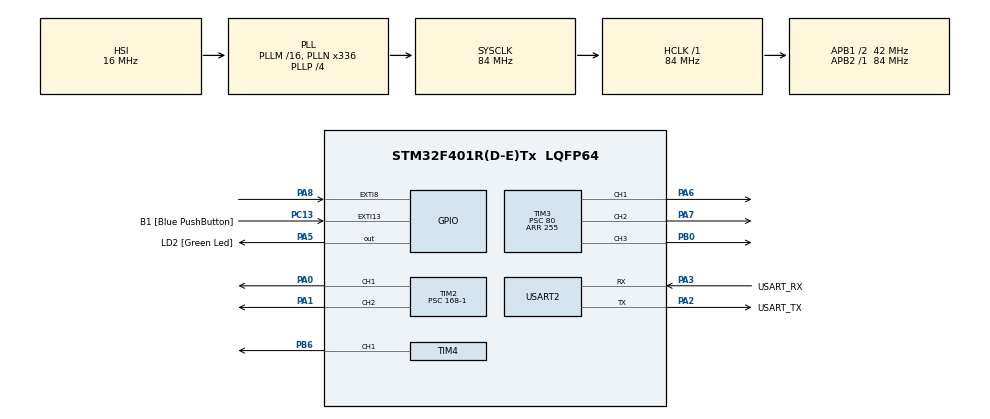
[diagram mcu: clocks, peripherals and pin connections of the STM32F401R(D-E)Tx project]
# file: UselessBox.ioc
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Mcu.Family=STM32F4
Mcu.Name=STM32F401R(D-E)Tx
Mcu.Package=LQFP64
NVIC.EXTI9_5_IRQn=true\:0\:0\:false\:false\:true\:true\:true\:true
NVIC.PriorityGroup=NVIC_PRIORITYGROUP_4
PA0-WKUP.Signal=S_TIM2_CH1_ETR
PA1.Signal=S_TIM2_CH2
PA13.GPIO_Label=TMS
PA13.Mode=Trace_Asynchronous_SW
PA13.Signal=SYS_JTMS-SWDIO
PA14.GPIO_Label=TCK
PA14.Mode=Trace_Asynchronous_SW
PA14.Signal=SYS_JTCK-SWCLK
PA2.GPIO_Label=USART_TX
PA2.GPIO_Mode=GPIO_MODE_AF_PP
PA2.GPIO_PuPd=GPIO_NOPULL
PA2.GPIO_Speed=GPIO_SPEED_FREQ_LOW
PA2.Mode=Asynchronous
PA2.Signal=USART2_TX
PA3.GPIO_Label=USART_RX
PA3.GPIO_Mode=GPIO_MODE_AF_PP
PA3.GPIO_PuPd=GPIO_NOPULL
PA3.GPIO_Speed=GPIO_SPEED_FREQ_LOW
PA3.Mode=Asynchronous
PA3.Signal=USART2_RX
PA5.GPIO_Label=LD2 [Green Led]
PA5.GPIO_Mode=GPIO_MODE_OUTPUT_PP
PA5.GPIO_PuPd=GPIO_NOPULL
PA5.GPIO_Speed=GPIO_SPEED_FREQ_LOW
PA5.Signal=GPIO_Output
PA6.Signal=S_TIM3_CH1
PA7.Signal=S_TIM3_CH2
PA8.GPIO_ModeDefaultEXTI=GPIO_MODE_IT_FALLING
PA8.GPIO_PuPd=GPIO_PULLUP
PA8.Signal=GPXTI8
PB0.Signal=S_TIM3_CH3
PB3.GPIO_Label=SWO
PB3.Mode=Trace_Asynchronous_SW
PB3.Signal=SYS_JTDO-SWO
PB6.Signal=S_TIM4_CH1
PC13-ANTI_TAMP.GPIO_Label=B1 [Blue PushButton]
PC13-ANTI_TAMP.GPIO_ModeDefaultEXTI=GPIO_MODE_IT_FALLING
PC13-ANTI_TAMP.GPIO_PuPd=GPIO_NOPULL
PC13-ANTI_TAMP.Signal=GPXTI13
PC14-OSC32_IN.Signal=RCC_OSC32_IN
PC15-OSC32_OUT.Signal=RCC_OSC32_OUT
PH0\ -\ OSC_IN.Mode=HSE-External-Oscillator
PH0\ -\ OSC_IN.Signal=RCC_OSC_IN
PH1\ -\ OSC_OUT.Mode=HSE-External-Oscillator
PH1\ -\ OSC_OUT.Signal=RCC_OSC_OUT
ProjectManager.HeapSize=0x200
ProjectManager.StackSize=0x400
ProjectManager.TargetToolchain=STM32CubeIDE
RCC.48MHZClocksFreq_Value=48000000
RCC.AHBFreq_Value=84000000
RCC.APB1CLKDivider=RCC_HCLK_DIV2
RCC.APB1Freq_Value=42000000
RCC.APB1TimFreq_Value=84000000
RCC.APB2Freq_Value=84000000
RCC.APB2TimFreq_Value=84000000
RCC.CortexFreq_Value=84000000
RCC.HCLKFreq_Value=84000000
RCC.HSE_VALUE=8000000
RCC.HSI_VALUE=16000000
RCC.LSE_VALUE=32768
RCC.PLLN=336
RCC.PLLP=RCC_PLLP_DIV4
RCC.PLLQ=7
RCC.SYSCLKFreq_VALUE=84000000
RCC.SYSCLKSource=RCC_SYSCLKSOURCE_PLLCLK
RCC.VCOOutputFreq_Value=336000000
SH.S_TIM2_CH1_ETR.0=TIM2_CH1,PWM Generation1 CH1
SH.S_TIM2_CH2.0=TIM2_CH2,PWM Generation2 CH2
SH.S_TIM3_CH1.0=TIM3_CH1,PWM Generation1 CH1
SH.S_TIM3_CH2.0=TIM3_CH2,PWM Generation2 CH2
SH.S_TIM3_CH3.0=TIM3_CH3,PWM Generation3 CH3
SH.S_TIM4_CH1.0=TIM4_CH1,PWM Generation1 CH1
TIM2.Channel-PWM\ Generation1\ CH1=TIM_CHANNEL_1
TIM2.Channel-PWM\ Generation2\ CH2=TIM_CHANNEL_2
TIM2.Period=10000-1
TIM2.Prescaler=168-1
TIM3.Channel-PWM\ Generation1\ CH1=TIM_CHANNEL_1
TIM3.Channel-PWM\ Generation2\ CH2=TIM_CHANNEL_2
TIM3.Channel-PWM\ Generation3\ CH3=TIM_CHANNEL_3
TIM3.Period=255
TIM3.Prescaler=80
TIM4.Channel-PWM\ Generation1\ CH1=TIM_CHANNEL_1
TIM4.Period=255
USART2.VirtualMode=VM_ASYNC
VP_TIM2_VS_ClockSourceINT.Mode=Internal
VP_TIM3_VS_ClockSourceINT.Mode=Internal
VP_TIM4_VS_ClockSourceINT.Mode=Internal
board=NUCLEO-F401RE

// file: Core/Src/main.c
/* USER CODE BEGIN Header */
/**
  ******************************************************************************
  * @file           : main.c
  * @brief          : Main program body
  ******************************************************************************
  * @attention
  *
  * Copyright (c) 2025 STMicroelectronics.
  * All rights reserved.
  *
  * This software is licensed under terms that can be found in the LICENSE file
  * in the root directory of this software component.
  * If no LICENSE file comes with this software, it is provided AS-IS.
  *
  ******************************************************************************
  */
/* USER CODE END Header */
#include "main.h"

/* USER CODE BEGIN Includes */
#include <stdio.h>
#include <string.h>
#include <stdlib.h>
#include <math.h>
#include <time.h>
#include "trapqueen.h"

/* USER CODE END Includes */

/* USER CODE BEGIN PD */

/* -- PWM Explanation --
 * htim2 handles Servo PWM
 * MG995 Servo requires PWM frequency of 20ms (50 hz)
 * Using Period of 10,000 and Prescaler of 168 achieves this
 * 0.5ms moves to 0 degrees, and 2.5ms moves to 180 degrees
 * Therefore, min pulse width is 250 and max is 1250
 *
 * htim3 handles RGB LED PWM (Red-Green-Blue Light-Emitting-Diode Pulse-Width-Modulation)
 * Using Period of 255 and Prescaler of 80 (don't remember why this prescaler but whatever)
 * Channels 1, 2, and 3 correspond to Red, Green, and Blue
 *
 * htim4 handles speaker playback. WAV file array is 8 bit unsigned at 8000hz
 * 1 second/8000 = 125us. Too small for HAL_Delay, so using DWT to delay this amt of time
 * Using Period of 255 and Prescaler of 0 (~328kHz PWM freq, really really fast. Good for speaker interfacing)
 * Period of 255 bc each sample is at most 255 (8bit unsigned). Already mapped duty cycle.
 * Could use interrupts instead of DWT (decouple sample timing from CPU), but this seemed simpler
 * */

/* -- Used GPIO Pins --
 * PA0 - PWM for Lid servo
 * PA1 - PWM for Arm servo
 * PA6 - PWM for Red channel
 * PA7 - PWM for Green channel
 * PB0 - PWM for Blue channel
 * PB6 - PWM for Speaker playback
 * PA8 - Power/interrupt pin for useless box switch
 * */

#define MIN_SERVO_PW             250  // 0.5ms duty cycle, 0 degrees
#define MAX_SERVO_PW             1250 // 2.5s  duty cycle, 180 degrees
#define MAX_ROTATION_DEGREES     180  // Max angle a servo can rotate
#define LID_MAX_ANGLE			 35   // Lift lid no more than these degrees
#define ARM_MAX_ANGLE			 170  // Lift arm no more than these degrees
#define DEBOUNCE_TIME_MS         100  // Switch debounce safety wait
#define HUE_UPDATE_INTERVAL      50   // Increment hue every 50 iterations in main
#define SPEAKER_SAMPLE_DELAY_US  106  // Speaker sampling delay
#define AUDIO_SAMPLE_RESET_INDEX 44   // Starting index for audio sample wrap-around

/* USER CODE END PD */

TIM_HandleTypeDef htim2;
TIM_HandleTypeDef htim3;
TIM_HandleTypeDef htim4;

UART_HandleTypeDef huart2;

/* USER CODE BEGIN PV */
volatile uint8_t movement_requested = 0; // Binary semaphore that triggers UselessBox_StandardRoutine()
uint32_t current_time, previous_time;    // Handles switch debouncing in ISR
uint16_t R, G, B, H = 0;                 // Handles LED cycling
uint32_t hue_update_counter = 0;
uint32_t audio_sample_index = 44;        // Music index. Skips WAV header (first 43 elements)

extern const uint8_t trapqueencut_wav[];
extern const unsigned int trapqueencut_wav_len;

typedef enum {
    LID = 0, // PA0, htim2 channel 1
    ARM = 1  // PA1, htim2 channel 2
} ServoID;
/* USER CODE END PV */

void SystemClock_Config(void);
static void MX_GPIO_Init(void);
static void MX_USART2_UART_Init(void);
static void MX_TIM2_Init(void);
static void MX_TIM3_Init(void);
static void MX_TIM4_Init(void);
/* USER CODE BEGIN PFP */

/* Routine Handling */
void UselessBox_RoutineDecider(void);
void UselessBox_StandardRoutine(void);
void UselessBox_AngryRoutine(void);
void UselessBox_WaveringRoutine(void);

/* Servo Handling */
uint32_t Servo_SetAngle(ServoID id, uint8_t angle);
uint32_t Servo_CalculatePulseWidth(uint8_t angle);
void     Servo_SweepAngle(ServoID id, uint8_t angle1, uint8_t angle2, uint32_t delay_ms);

/* Speaker Handling */
void Speaker_OutputSample(uint8_t freq);
void Speaker_DWT_Init(void);
void Speaker_DWTDelay_us(uint32_t us_delay);

/* RGB LED Handling */
void LED_SetColor(uint8_t red, uint8_t green, uint8_t blue);
void HSV_to_RGB(uint16_t H, uint16_t *R, uint16_t *G, uint16_t *B);

/* USER CODE END PFP */

/* USER CODE BEGIN 0 */

void UselessBox_StandardRoutine(void){
	Servo_SweepAngle(LID, 0, LID_MAX_ANGLE, 2); // Open lid
	Servo_SweepAngle(ARM, 0, ARM_MAX_ANGLE, 2); // Swing out arm
	HAL_Delay(200);
	Servo_SweepAngle(ARM, ARM_MAX_ANGLE, 0, 2); // Return arm
	Servo_SweepAngle(LID, LID_MAX_ANGLE, 0, 2); // Close lid
}

void UselessBox_AngryRoutine(void){
	Servo_SweepAngle(LID, 0, LID_MAX_ANGLE, 2); // Open lid
	Servo_SweepAngle(ARM, 0, ARM_MAX_ANGLE, 2); // Swing out arm
	for(uint8_t i = 0; i < 7; i++){
		Servo_SweepAngle(LID, LID_MAX_ANGLE, 0, 2); // Close lid
		HAL_Delay(100);
		Servo_SweepAngle(LID, 0, LID_MAX_ANGLE, 2); // Open lid
		HAL_Delay(100);
	}
	HAL_Delay(100);
	Servo_SweepAngle(ARM, ARM_MAX_ANGLE, 0, 2); // Return arm
	Servo_SweepAngle(LID, LID_MAX_ANGLE, 0, 2); // Close lid
}

void UselessBox_WaveringRoutine(void){
	Servo_SweepAngle(LID, 0, LID_MAX_ANGLE, 10); // Open lid
	Servo_SweepAngle(ARM, 0, ARM_MAX_ANGLE-10, 5); // Close wavering point
	for(uint8_t i = 0; i < 3; i++){
		Servo_SweepAngle(ARM, ARM_MAX_ANGLE-10, ARM_MAX_ANGLE-20, 5); // Far wavering point
		HAL_Delay(100);
		Servo_SweepAngle(ARM, ARM_MAX_ANGLE-20, ARM_MAX_ANGLE-10, 5); // Close wavering point
	}
	Servo_SweepAngle(ARM, ARM_MAX_ANGLE-10, 100, 3); // Fake return arm
	HAL_Delay(100);
	Servo_SweepAngle(ARM, 100, ARM_MAX_ANGLE, 3); // Flip switch
	HAL_Delay(100);
	Servo_SweepAngle(ARM, ARM_MAX_ANGLE, 0, 2); // Return arm
	Servo_SweepAngle(LID, LID_MAX_ANGLE, 0, 2); // Close lid
}

void UselessBox_RoutineDecider(void){
	switch(rand()%4){
		case 0:  UselessBox_StandardRoutine(); break;
		case 1:  UselessBox_AngryRoutine();    break;
		case 2:  UselessBox_WaveringRoutine(); break;
		default: UselessBox_StandardRoutine();
	}
}

uint32_t Servo_SetAngle(ServoID id, uint8_t angle){
	uint32_t pulse_width = Servo_CalculatePulseWidth(angle);
	switch(id){
		case LID: htim2.Instance->CCR1 = pulse_width; break;
		case ARM: htim2.Instance->CCR2 = pulse_width; break;
		default:  break;
	}

	return pulse_width;
}

uint32_t Servo_CalculatePulseWidth(uint8_t angle){
	return MIN_SERVO_PW + (((MAX_SERVO_PW - MIN_SERVO_PW) * angle)/MAX_ROTATION_DEGREES);
}

void Servo_SweepAngle(ServoID id, uint8_t angle1, uint8_t angle2, uint32_t delay_ms) {
	// Time in ms it takes to execute this function = abs(angle1-angle2)*delay_ms
    if (angle1 > 180) angle1 = 180;
    if (angle2 > 180) angle2 = 180;

    if (angle1 == angle2) return;

    int8_t sign = (angle1 < angle2) ? 1 : -1;

    while (angle1 != angle2) {
        Servo_SetAngle(id, angle1);
        HAL_Delay(delay_ms);
        angle1 += sign;
    }

    // Ensure the servo reaches the final position
    Servo_SetAngle(id, angle2);
}

void Speaker_OutputSample(uint8_t freq){
	 htim4.Instance->CCR1 = freq;
}

void Speaker_DWT_Init(void){
    CoreDebug->DEMCR |= CoreDebug_DEMCR_TRCENA_Msk; // Enables DWT unit
    DWT->CYCCNT = 0; // Clears DWT counter
    DWT->CTRL |= DWT_CTRL_CYCCNTENA_Msk; // Starts it counting
}

void Speaker_DWTDelay_us(uint32_t us_delay){
    uint32_t cycles = us_delay * (SystemCoreClock / 1000000); // Cycles per microsecond (84MHz/1,000,000) = 84 cycles per us
    uint32_t start = DWT->CYCCNT;                             // Current cycle count
    while ((DWT->CYCCNT - start) < cycles);                   // Busy-wait until specified cycles have passed
}

void LED_SetColor(uint8_t red, uint8_t green, uint8_t blue){
	htim3.Instance->CCR1 = red;
	htim3.Instance->CCR2 = green;
	htim3.Instance->CCR3 = blue;
}

void HSV_to_RGB(uint16_t H, uint16_t *R, uint16_t *G, uint16_t *B) {
//	https://en.wikipedia.org/wiki/HSL_and_HSV#HSV_to_RGB
	float S = 1, V = 1;
    float C = V * S;
    float X = C * (1 - fabs(fmod(H / 60.0, 2) - 1));
    float m = V - C;

    float r, g, b;
    if      (H >= 0   && H <  60) r = C, g = X, b = 0;
    else if (H >= 60  && H < 120) r = X, g = C, b = 0;
    else if (H >= 120 && H < 180) r = 0, g = C, b = X;
    else if (H >= 180 && H < 240) r = 0, g = X, b = C;
    else if (H >= 240 && H < 300) r = X, g = 0, b = C;
    else                          r = C, g = 0, b = X;

    // Convert to 8-bit RGB
    *R = (int)((r + m) * 255);
    *G = (int)((g + m) * 255);
    *B = (int)((b + m) * 255);
}

/* USER CODE END 0 */

int main(void)
{

  /* MCU Configuration--------------------------------------------------------*/

  /* Reset of all peripherals, Initializes the Flash interface and the Systick. */
  HAL_Init();

  /* Configure the system clock */
  SystemClock_Config();

  /* Initialize all configured peripherals */
  MX_GPIO_Init();
  MX_USART2_UART_Init();
  MX_TIM2_Init();
  MX_TIM3_Init();
  MX_TIM4_Init();
  /* USER CODE BEGIN 2 */
  /* INIT SERVOS */
  HAL_TIM_PWM_Start(&htim2, TIM_CHANNEL_1); // Lid servo
  HAL_TIM_PWM_Start(&htim2, TIM_CHANNEL_2); // Arm servo

  /* INIT RGB LED */
  HAL_TIM_PWM_Start(&htim3, TIM_CHANNEL_1); // Red channel
  HAL_TIM_PWM_Start(&htim3, TIM_CHANNEL_2); // Green channel
  HAL_TIM_PWM_Start(&htim3, TIM_CHANNEL_3); // Blue channel

  /* INIT SPEAKER CONTROL */
  HAL_TIM_PWM_Start(&htim4, TIM_CHANNEL_1); // Speaker control
  Speaker_DWT_Init();                       // 125us delay, 8Khz audio playback

  /* USER CODE END 2 */

  /* Infinite loop */
  /* USER CODE BEGIN WHILE */

  Servo_SetAngle(LID, 0);
  Servo_SetAngle(ARM, 0);
  // Idea: Seed RNG with an empty ADC port. Should read garbage data

  while (1)
  {
    /* USER CODE END WHILE */

    /* USER CODE BEGIN 3 */
	  if(movement_requested){
		  Speaker_OutputSample(0); // Turn off speaker
		  HAL_Delay(100);          // Maybe remove this
		  LED_SetColor(0, 0, 0);  // Turn off lights
		  UselessBox_RoutineDecider();
		  movement_requested = 0;
	  } else {
		  // RGB Cycling
		  if((hue_update_counter++) % 50 == 0) {
			  H = (H + 1) % 360; // Tweak cycle_speed if necessary. Only increment H every 50 iterations
			  hue_update_counter = 1;
		  }
		  HSV_to_RGB(H, &R, &G, &B);
		  LED_SetColor(R,G,B);

		  // Speaker audio playback
		  Speaker_OutputSample(trapqueencut_wav[audio_sample_index++]);
		  if(audio_sample_index > trapqueencut_wav_len) audio_sample_index = AUDIO_SAMPLE_RESET_INDEX;
		  Speaker_DWTDelay_us(SPEAKER_SAMPLE_DELAY_US); // Should be 125us, but its too pitched down. Plays audio at 8000hz, which is how I encoded the WAV file

	  }

  }
  /* USER CODE END 3 */
}

void SystemClock_Config(void)
{
  RCC_OscInitTypeDef RCC_OscInitStruct = {0};
  RCC_ClkInitTypeDef RCC_ClkInitStruct = {0};

  /** Configure the main internal regulator output voltage
  */
  __HAL_RCC_PWR_CLK_ENABLE();
  __HAL_PWR_VOLTAGESCALING_CONFIG(PWR_REGULATOR_VOLTAGE_SCALE2);

  /** Initializes the RCC Oscillators according to the specified parameters
  * in the RCC_OscInitTypeDef structure.
  */
  RCC_OscInitStruct.OscillatorType = RCC_OSCILLATORTYPE_HSI;
  RCC_OscInitStruct.HSIState = RCC_HSI_ON;
  RCC_OscInitStruct.HSICalibrationValue = RCC_HSICALIBRATION_DEFAULT;
  RCC_OscInitStruct.PLL.PLLState = RCC_PLL_ON;
  RCC_OscInitStruct.PLL.PLLSource = RCC_PLLSOURCE_HSI;
  RCC_OscInitStruct.PLL.PLLM = 16;
  RCC_OscInitStruct.PLL.PLLN = 336;
  RCC_OscInitStruct.PLL.PLLP = RCC_PLLP_DIV4;
  RCC_OscInitStruct.PLL.PLLQ = 7;
  if (HAL_RCC_OscConfig(&RCC_OscInitStruct) != HAL_OK)
  {
    Error_Handler();
  }

  /** Initializes the CPU, AHB and APB buses clocks
  */
  RCC_ClkInitStruct.ClockType = RCC_CLOCKTYPE_HCLK|RCC_CLOCKTYPE_SYSCLK
                              |RCC_CLOCKTYPE_PCLK1|RCC_CLOCKTYPE_PCLK2;
  RCC_ClkInitStruct.SYSCLKSource = RCC_SYSCLKSOURCE_PLLCLK;
  RCC_ClkInitStruct.AHBCLKDivider = RCC_SYSCLK_DIV1;
  RCC_ClkInitStruct.APB1CLKDivider = RCC_HCLK_DIV2;
  RCC_ClkInitStruct.APB2CLKDivider = RCC_HCLK_DIV1;

  if (HAL_RCC_ClockConfig(&RCC_ClkInitStruct, FLASH_LATENCY_2) != HAL_OK)
  {
    Error_Handler();
  }
}

static void MX_TIM2_Init(void)
{

  TIM_ClockConfigTypeDef sClockSourceConfig = {0};
  TIM_MasterConfigTypeDef sMasterConfig = {0};
  TIM_OC_InitTypeDef sConfigOC = {0};

  htim2.Instance = TIM2;
  htim2.Init.Prescaler = 168-1;
  htim2.Init.CounterMode = TIM_COUNTERMODE_UP;
  htim2.Init.Period = 10000-1;
  htim2.Init.ClockDivision = TIM_CLOCKDIVISION_DIV1;
  htim2.Init.AutoReloadPreload = TIM_AUTORELOAD_PRELOAD_DISABLE;
  if (HAL_TIM_Base_Init(&htim2) != HAL_OK)
  {
    Error_Handler();
  }
  sClockSourceConfig.ClockSource = TIM_CLOCKSOURCE_INTERNAL;
  if (HAL_TIM_ConfigClockSource(&htim2, &sClockSourceConfig) != HAL_OK)
  {
    Error_Handler();
  }
  if (HAL_TIM_PWM_Init(&htim2) != HAL_OK)
  {
    Error_Handler();
  }
  sMasterConfig.MasterOutputTrigger = TIM_TRGO_RESET;
  sMasterConfig.MasterSlaveMode = TIM_MASTERSLAVEMODE_DISABLE;
  if (HAL_TIMEx_MasterConfigSynchronization(&htim2, &sMasterConfig) != HAL_OK)
  {
    Error_Handler();
  }
  sConfigOC.OCMode = TIM_OCMODE_PWM1;
  sConfigOC.Pulse = 0;
  sConfigOC.OCPolarity = TIM_OCPOLARITY_HIGH;
  sConfigOC.OCFastMode = TIM_OCFAST_DISABLE;
  if (HAL_TIM_PWM_ConfigChannel(&htim2, &sConfigOC, TIM_CHANNEL_1) != HAL_OK)
  {
    Error_Handler();
  }
  if (HAL_TIM_PWM_ConfigChannel(&htim2, &sConfigOC, TIM_CHANNEL_2) != HAL_OK)
  {
    Error_Handler();
  }
  HAL_TIM_MspPostInit(&htim2);

}

static void MX_TIM3_Init(void)
{

  TIM_ClockConfigTypeDef sClockSourceConfig = {0};
  TIM_MasterConfigTypeDef sMasterConfig = {0};
  TIM_OC_InitTypeDef sConfigOC = {0};

  htim3.Instance = TIM3;
  htim3.Init.Prescaler = 80;
  htim3.Init.CounterMode = TIM_COUNTERMODE_UP;
  htim3.Init.Period = 255;
  htim3.Init.ClockDivision = TIM_CLOCKDIVISION_DIV1;
  htim3.Init.AutoReloadPreload = TIM_AUTORELOAD_PRELOAD_DISABLE;
  if (HAL_TIM_Base_Init(&htim3) != HAL_OK)
  {
    Error_Handler();
  }
  sClockSourceConfig.ClockSource = TIM_CLOCKSOURCE_INTERNAL;
  if (HAL_TIM_ConfigClockSource(&htim3, &sClockSourceConfig) != HAL_OK)
  {
    Error_Handler();
  }
  if (HAL_TIM_PWM_Init(&htim3) != HAL_OK)
  {
    Error_Handler();
  }
  sMasterConfig.MasterOutputTrigger = TIM_TRGO_RESET;
  sMasterConfig.MasterSlaveMode = TIM_MASTERSLAVEMODE_DISABLE;
  if (HAL_TIMEx_MasterConfigSynchronization(&htim3, &sMasterConfig) != HAL_OK)
  {
    Error_Handler();
  }
  sConfigOC.OCMode = TIM_OCMODE_PWM1;
  sConfigOC.Pulse = 0;
  sConfigOC.OCPolarity = TIM_OCPOLARITY_HIGH;
  sConfigOC.OCFastMode = TIM_OCFAST_DISABLE;
  if (HAL_TIM_PWM_ConfigChannel(&htim3, &sConfigOC, TIM_CHANNEL_1) != HAL_OK)
  {
    Error_Handler();
  }
  if (HAL_TIM_PWM_ConfigChannel(&htim3, &sConfigOC, TIM_CHANNEL_2) != HAL_OK)
  {
    Error_Handler();
  }
  if (HAL_TIM_PWM_ConfigChannel(&htim3, &sConfigOC, TIM_CHANNEL_3) != HAL_OK)
  {
    Error_Handler();
  }
  HAL_TIM_MspPostInit(&htim3);

}

static void MX_TIM4_Init(void)
{

  TIM_ClockConfigTypeDef sClockSourceConfig = {0};
  TIM_MasterConfigTypeDef sMasterConfig = {0};
  TIM_OC_InitTypeDef sConfigOC = {0};

  htim4.Instance = TIM4;
  htim4.Init.Prescaler = 0;
  htim4.Init.CounterMode = TIM_COUNTERMODE_UP;
  htim4.Init.Period = 255;
  htim4.Init.ClockDivision = TIM_CLOCKDIVISION_DIV1;
  htim4.Init.AutoReloadPreload = TIM_AUTORELOAD_PRELOAD_DISABLE;
  if (HAL_TIM_Base_Init(&htim4) != HAL_OK)
  {
    Error_Handler();
  }
  sClockSourceConfig.ClockSource = TIM_CLOCKSOURCE_INTERNAL;
  if (HAL_TIM_ConfigClockSource(&htim4, &sClockSourceConfig) != HAL_OK)
  {
    Error_Handler();
  }
  if (HAL_TIM_PWM_Init(&htim4) != HAL_OK)
  {
    Error_Handler();
  }
  sMasterConfig.MasterOutputTrigger = TIM_TRGO_RESET;
  sMasterConfig.MasterSlaveMode = TIM_MASTERSLAVEMODE_DISABLE;
  if (HAL_TIMEx_MasterConfigSynchronization(&htim4, &sMasterConfig) != HAL_OK)
  {
    Error_Handler();
  }
  sConfigOC.OCMode = TIM_OCMODE_PWM1;
  sConfigOC.Pulse = 0;
  sConfigOC.OCPolarity = TIM_OCPOLARITY_HIGH;
  sConfigOC.OCFastMode = TIM_OCFAST_DISABLE;
  if (HAL_TIM_PWM_ConfigChannel(&htim4, &sConfigOC, TIM_CHANNEL_1) != HAL_OK)
  {
    Error_Handler();
  }
  HAL_TIM_MspPostInit(&htim4);

}

static void MX_USART2_UART_Init(void)
{

  huart2.Instance = USART2;
  huart2.Init.BaudRate = 115200;
  huart2.Init.WordLength = UART_WORDLENGTH_8B;
  huart2.Init.StopBits = UART_STOPBITS_1;
  huart2.Init.Parity = UART_PARITY_NONE;
  huart2.Init.Mode = UART_MODE_TX_RX;
  huart2.Init.HwFlowCtl = UART_HWCONTROL_NONE;
  huart2.Init.OverSampling = UART_OVERSAMPLING_16;
  if (HAL_UART_Init(&huart2) != HAL_OK)
  {
    Error_Handler();
  }

}

static void MX_GPIO_Init(void)
{
  GPIO_InitTypeDef GPIO_InitStruct = {0};

  /* GPIO Ports Clock Enable */
  __HAL_RCC_GPIOC_CLK_ENABLE();
  __HAL_RCC_GPIOH_CLK_ENABLE();
  __HAL_RCC_GPIOA_CLK_ENABLE();
  __HAL_RCC_GPIOB_CLK_ENABLE();

  /*Configure GPIO pin Output Level */
  HAL_GPIO_WritePin(LD2_GPIO_Port, LD2_Pin, GPIO_PIN_RESET);

  /*Configure GPIO pin : B1_Pin */
  GPIO_InitStruct.Pin = B1_Pin;
  GPIO_InitStruct.Mode = GPIO_MODE_IT_FALLING;
  GPIO_InitStruct.Pull = GPIO_NOPULL;
  HAL_GPIO_Init(B1_GPIO_Port, &GPIO_InitStruct);

  /*Configure GPIO pin : LD2_Pin */
  GPIO_InitStruct.Pin = LD2_Pin;
  GPIO_InitStruct.Mode = GPIO_MODE_OUTPUT_PP;
  GPIO_InitStruct.Pull = GPIO_NOPULL;
  GPIO_InitStruct.Speed = GPIO_SPEED_FREQ_LOW;
  HAL_GPIO_Init(LD2_GPIO_Port, &GPIO_InitStruct);

  /*Configure GPIO pin : PA8 */
  GPIO_InitStruct.Pin = GPIO_PIN_8;
  GPIO_InitStruct.Mode = GPIO_MODE_IT_FALLING;
  GPIO_InitStruct.Pull = GPIO_PULLUP;
  HAL_GPIO_Init(GPIOA, &GPIO_InitStruct);

  /* EXTI interrupt init*/
  HAL_NVIC_SetPriority(EXTI9_5_IRQn, 0, 0);
  HAL_NVIC_EnableIRQ(EXTI9_5_IRQn);

}

/* USER CODE BEGIN 4 */
void HAL_GPIO_EXTI_Callback(uint16_t GPIO_Pin)
{
  // This function handles interrupts by pin number, not by port.

  /* Prevent unused argument(s) compilation warning */
  UNUSED(GPIO_Pin);

  if(GPIO_Pin != GPIO_PIN_8) return;

  current_time = HAL_GetTick();

  if (current_time - previous_time < DEBOUNCE_TIME_MS) return; // Debounce check: Ignore if the debounce time hasn't passed

  // Remember, with the pull-up resistor, switch OFF = High, ON = Low
  // If the switch is ON (GPIO_PIN_RESET, which means Low), request servo movement
  if (HAL_GPIO_ReadPin(GPIOA, GPIO_PIN_8) == GPIO_PIN_RESET){
	  previous_time = current_time;
	  movement_requested = 1;  // Trigger servo movement
  }

}

/* USER CODE END 4 */

void Error_Handler(void)
{
  __disable_irq();
  while (1)
  {
  }
}
